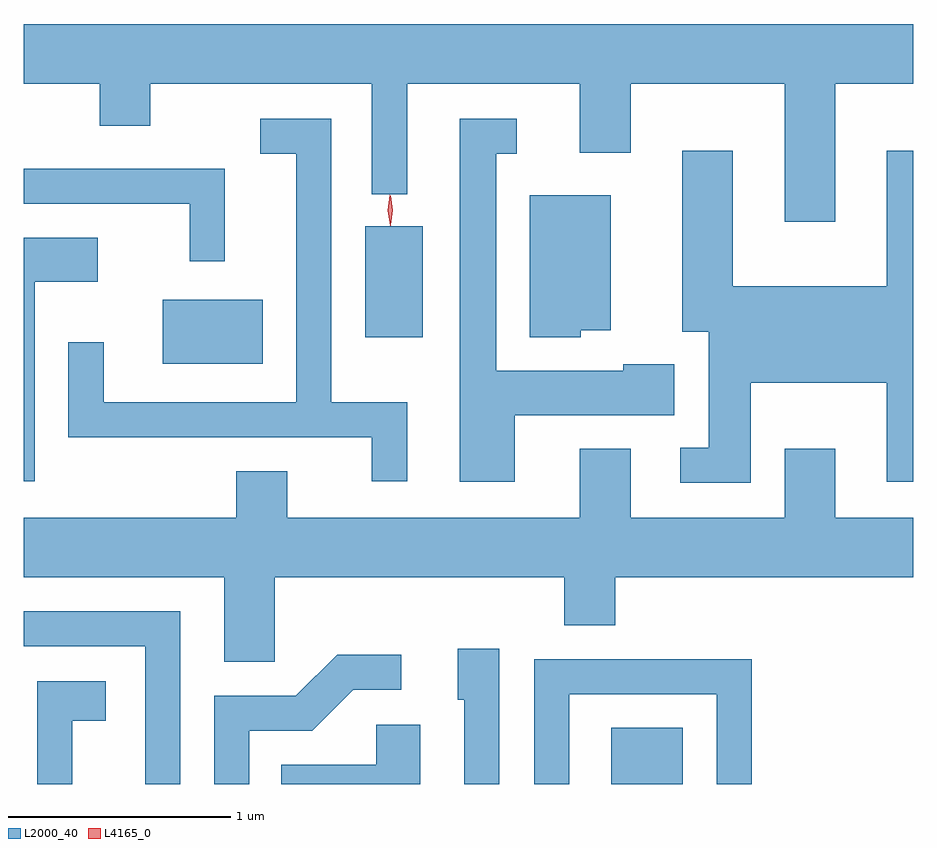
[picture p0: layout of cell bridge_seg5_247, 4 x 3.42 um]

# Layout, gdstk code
import gdstk
lib = gdstk.Library(unit=1e-6, precision=1e-09)
def R(c, l, rs):  # rectangles x0, y0, x1, y1
    for r in rs: c.add(gdstk.rectangle(r[:2], r[2:], *l))
def P(c, l, *ps):  # polygons
    for p in ps: c.add(gdstk.Polygon(p, *l))
L2000_40 = (2000, 40)
L4165_0 = (4165, 0)

bridge_seg5_247 = lib.new_cell('bridge_seg5_247')
R(bridge_seg5_247, L2000_40, [(951.171,1466.967,951.494,1467.219), (949.156,1468.856,949.604,1469.144), (950.066,1468.976,950.324,1469.474)])
P(bridge_seg5_247, L2000_40, [(952.179,1470.116),(952.53,1470.116),(952.53,1470.384),(948.53,1470.384),(948.53,1470.116),(948.871,1470.116),(948.871,1469.926),(949.099,1469.926),(949.099,1470.116),(950.096,1470.116),(950.096,1469.618),(950.254,1469.618),(950.254,1470.116),(951.031,1470.116),(951.031,1469.806),(951.259,1469.806),(951.259,1470.116),(951.951,1470.116),(951.951,1469.496),(952.179,1469.496)],
  [(950.739,1468.626),(951.454,1468.626),(951.454,1468.854),(951.226,1468.854),(951.226,1468.824),(950.654,1468.824),(950.654,1469.801),(950.748,1469.801),(950.748,1469.959),(950.491,1469.959),(950.491,1468.326),(950.739,1468.326)],
  [(950.254,1468.684),(949.914,1468.684),(949.914,1469.959),(949.593,1469.959),(949.593,1469.801),(949.756,1469.801),(949.756,1468.684),(948.889,1468.684),(948.889,1468.953),(948.731,1468.953),(948.731,1468.526),(950.096,1468.526),(950.096,1468.328),(950.254,1468.328)],
  [(951.799,1468.771),(952.411,1468.771),(952.411,1468.326),(952.53,1468.326),(952.53,1469.814),(952.411,1469.814),(952.411,1469.204),(951.719,1469.204),(951.719,1469.814),(951.491,1469.814),(951.491,1469.001),(951.611,1469.001),(951.611,1468.479),(951.483,1468.479),(951.483,1468.321),(951.799,1468.321)],
  [(949.434,1469.734),(948.53,1469.734),(948.53,1469.576),(949.276,1469.576),(949.276,1469.318),(949.434,1469.318)],
  [(951.034,1469.006),(951.169,1469.006),(951.169,1469.614),(950.806,1469.614),(950.806,1468.976),(951.034,1468.976)],
  [(948.579,1469.226),(948.864,1469.226),(948.864,1469.424),(948.53,1469.424),(948.53,1468.328),(948.579,1468.328)],
  [(948.53,1467.896),(949.431,1467.896),(949.431,1467.516),(949.659,1467.516),(949.659,1467.896),(950.961,1467.896),(950.961,1467.681),(951.189,1467.681),(951.189,1467.896),(952.53,1467.896),(952.53,1468.164),(952.179,1468.164),(952.179,1468.474),(951.951,1468.474),(951.951,1468.164),(951.259,1468.164),(951.259,1468.474),(951.031,1468.474),(951.031,1468.164),(949.714,1468.164),(949.714,1468.374),(949.486,1468.374),(949.486,1468.164),(948.53,1468.164)],
  [(949.234,1467.744),(948.53,1467.744),(948.53,1467.586),(949.076,1467.586),(949.076,1466.967),(949.234,1466.967)],
  [(950.669,1467.574),(950.481,1467.574),(950.481,1467.346),(950.511,1467.346),(950.511,1466.967),(950.669,1466.967)],
  [(949.544,1467.206),(949.827,1467.206),(950.012,1467.391),(950.228,1467.391),(950.228,1467.549),(949.939,1467.549),(949.754,1467.364),(949.386,1467.364),(949.386,1466.967),(949.544,1466.967)],
  [(950.984,1467.371),(951.646,1467.371),(951.646,1466.967),(951.804,1466.967),(951.804,1467.529),(950.826,1467.529),(950.826,1466.967),(950.984,1466.967)],
  [(948.749,1467.251),(948.899,1467.251),(948.899,1467.429),(948.591,1467.429),(948.591,1466.967),(948.749,1466.967)],
  [(950.314,1467.234),(950.116,1467.234),(950.116,1467.054),(949.688,1467.054),(949.688,1466.967),(950.314,1466.967)])
P(bridge_seg5_247, L4165_0, [(950.179,1469.478),(950.168,1469.546),(950.176,1469.615),(950.177,1469.616),(950.177,1469.615),(950.188,1469.547),(950.18,1469.478),(950.18,1469.478)],
  [(950.18,1469.48),(950.179,1469.481),(950.169,1469.546),(950.179,1469.612),(950.18,1469.612),(950.18,1469.612),(950.19,1469.546),(950.18,1469.481)])

lib.write_gds('bridge_seg5_247.gds')
